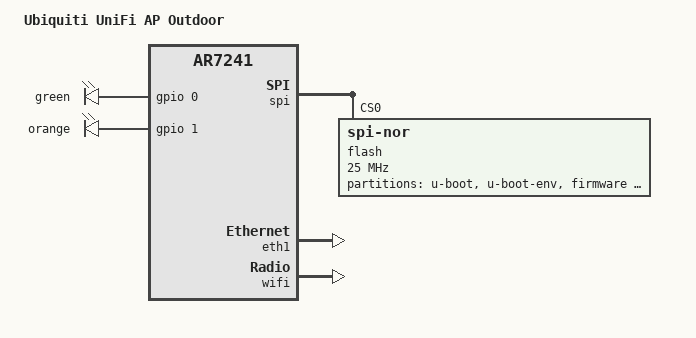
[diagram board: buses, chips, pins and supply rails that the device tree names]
// SPDX-License-Identifier: GPL-2.0-or-later OR MIT

#include "ar7241_ubnt_unifi.dtsi"

/ {
	compatible = "ubnt,unifi-ap-outdoor", "qca,ar7241";
	model = "Ubiquiti UniFi AP Outdoor";

	aliases {
		led-boot = &led_orange;
		led-failsafe = &led_orange;
		led-running = &led_green;
		led-upgrade = &led_green;
	};

	leds {
		compatible = "gpio-leds";

		led_green: green {
			label = "green";
			gpios = <&gpio 0 GPIO_ACTIVE_HIGH>;
		};

		led_orange: orange {
			label = "orange";
			gpios = <&gpio 1 GPIO_ACTIVE_HIGH>;
		};
	};
};

&spi {
	status = "okay";

	flash@0 {
		compatible = "jedec,spi-nor";
		reg = <0>;
		spi-max-frequency = <25000000>;

		partitions {
			compatible = "fixed-partitions";
			#address-cells = <1>;
			#size-cells = <1>;

			partition@0 {
				label = "u-boot";
				reg = <0x000000 0x040000>;
				read-only;
			};

			partition@40000 {
				label = "u-boot-env";
				reg = <0x040000 0x010000>;
				read-only;
			};

			partition@50000 {
				compatible = "denx,uimage";
				label = "firmware";
				reg = <0x050000 0x750000>;
			};

			partition@7a0000 {
				label = "board_config";
				reg = <0x7a0000 0x010000>;
				read-only;
			};

			partition@7b0000 {
				label = "cfg";
				reg = <0x7b0000 0x040000>;
				read-only;
			};

			art: partition@7f0000 {
				label = "art";
				reg = <0x7f0000 0x010000>;
				read-only;
			};
		};
	};
};

&eth0 {
	nvmem-cells = <&macaddr_art_0>;
	nvmem-cell-names = "mac-address";
};

&eth1 {
	status = "okay";

	nvmem-cells = <&macaddr_art_6>;
	nvmem-cell-names = "mac-address";
};

&wifi {
	ubnt,hsr;
};

&art {
	compatible = "nvmem-cells";
	#address-cells = <1>;
	#size-cells = <1>;

	macaddr_art_0: macaddr@0 {
		reg = <0x0 0x6>;
	};

	macaddr_art_6: macaddr@6 {
		reg = <0x6 0x6>;
	};
};
